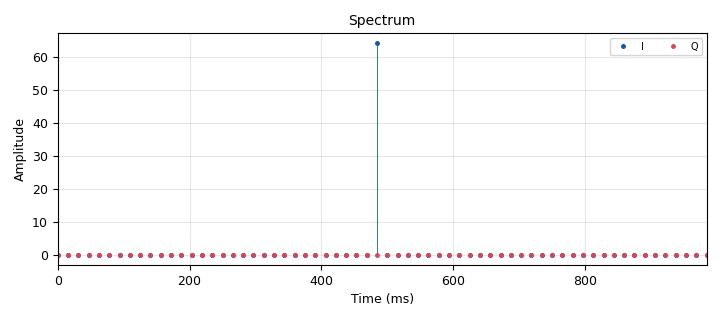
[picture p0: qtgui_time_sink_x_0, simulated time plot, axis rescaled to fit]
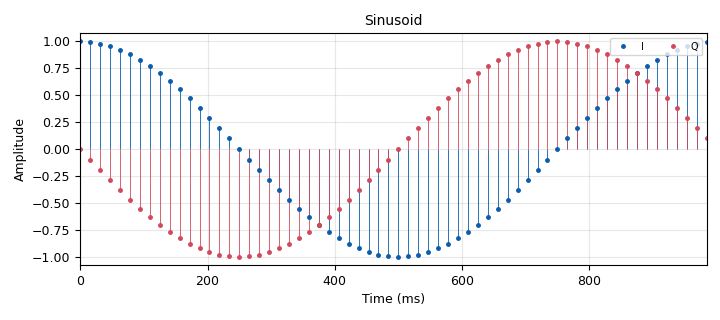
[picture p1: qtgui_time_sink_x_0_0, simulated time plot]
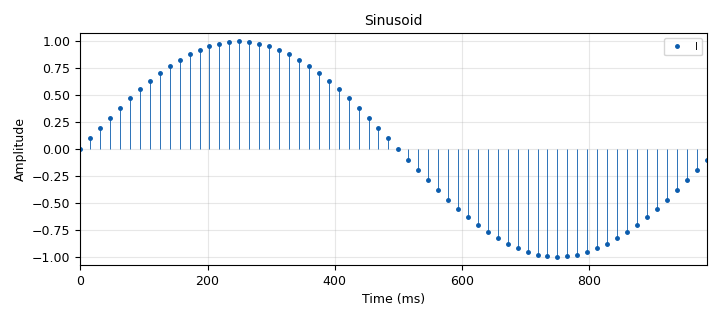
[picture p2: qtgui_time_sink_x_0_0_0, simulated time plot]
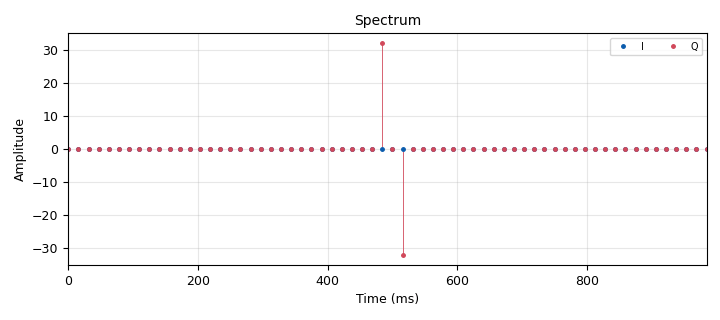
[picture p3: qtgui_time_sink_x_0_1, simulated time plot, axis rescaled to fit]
options:
  parameters:
    generate_options: qt_gui
    id: going_into_frequency_domain
    output_language: python
    title: Going into Frequency Domain
  states: {}

blocks:
- name: nfft
  id: variable_qtgui_range
  parameters:
    orient: Qt.Horizontal
    start: '1'
    step: '5'
    stop: '200'
    value: '64'
  states: {}
- name: samp_rate
  id: variable_qtgui_range
  parameters:
    orient: Qt.Horizontal
    start: '1'
    step: '5'
    stop: '100'
    value: '64'
  states: {}
- name: analog_sig_source_x_0
  id: analog_sig_source_x
  parameters:
    amp: '1'
    freq: '-1'
    offset: '0'
    phase: 0*pi/2
    samp_rate: samp_rate
    type: complex
    waveform: analog.GR_COS_WAVE
  states: {}
- name: analog_sig_source_x_0_0
  id: analog_sig_source_x
  parameters:
    amp: '1'
    freq: '1'
    offset: '0'
    phase: 0*pi/2
    samp_rate: samp_rate
    type: float
    waveform: analog.GR_SIN_WAVE
  states: {}
- name: blocks_float_to_complex_0_0
  id: blocks_float_to_complex
  parameters: {}
  states: {}
- name: blocks_stream_to_vector_0
  id: blocks_stream_to_vector
  parameters:
    num_items: nfft
    type: complex
  states: {}
- name: blocks_stream_to_vector_0_0
  id: blocks_stream_to_vector
  parameters:
    num_items: nfft
    type: complex
  states: {}
- name: blocks_throttle_0
  id: blocks_throttle
  parameters:
    samples_per_second: '8000'
    type: complex
  states: {}
- name: blocks_throttle_0_0
  id: blocks_throttle
  parameters:
    samples_per_second: '8000'
    type: float
  states: {}
- name: blocks_vector_to_stream_0
  id: blocks_vector_to_stream
  parameters:
    num_items: nfft
    type: complex
  states: {}
- name: blocks_vector_to_stream_0_0
  id: blocks_vector_to_stream
  parameters:
    num_items: nfft
    type: complex
  states: {}
- name: fft_vxx_0
  id: fft_vxx
  parameters:
    fft_size: nfft
    forward: 'True'
    nthreads: '8'
    shift: 'True'
    type: complex
    window: window.rectangular(nfft)
  states: {}
- name: fft_vxx_0_0
  id: fft_vxx
  parameters:
    fft_size: nfft
    forward: 'True'
    nthreads: '8'
    shift: 'True'
    type: complex
    window: window.rectangular(nfft)
  states: {}
- name: import_0
  id: import
  parameters:
    imports: "\n\nfrom math import pi"
  states: {}
- name: qtgui_time_sink_x_0
  id: qtgui_time_sink_x
  parameters:
    axislabels: 'False'
    grid: 'True'
    label1: I
    label2: Q
    marker1: '0'
    marker2: '1'
    name: Spectrum
    size: nfft
    srate: samp_rate
    stemplot: 'True'
    type: complex
    update_time: '0.01'
  states: {}
- name: qtgui_time_sink_x_0_0
  id: qtgui_time_sink_x
  parameters:
    grid: 'True'
    label1: I
    label2: Q
    marker1: '0'
    marker2: '0'
    name: Sinusoid
    size: samp_rate
    srate: samp_rate
    stemplot: 'True'
    type: complex
    update_time: '0.01'
  states: {}
- name: qtgui_time_sink_x_0_0_0
  id: qtgui_time_sink_x
  parameters:
    axislabels: 'False'
    grid: 'True'
    label1: I
    marker1: '0'
    name: Sinusoid
    size: samp_rate
    srate: samp_rate
    stemplot: 'True'
    type: float
    update_time: '0.01'
  states: {}
- name: qtgui_time_sink_x_0_1
  id: qtgui_time_sink_x
  parameters:
    axislabels: 'False'
    grid: 'True'
    label1: I
    label2: Q
    marker1: '0'
    marker2: '1'
    name: Spectrum
    size: nfft
    srate: samp_rate
    stemplot: 'True'
    type: complex
    update_time: '0.01'
  states: {}

connections:
- [analog_sig_source_x_0, '0', blocks_throttle_0, '0']
- [analog_sig_source_x_0_0, '0', blocks_throttle_0_0, '0']
- [blocks_float_to_complex_0_0, '0', blocks_stream_to_vector_0_0, '0']
- [blocks_stream_to_vector_0, '0', fft_vxx_0, '0']
- [blocks_stream_to_vector_0_0, '0', fft_vxx_0_0, '0']
- [blocks_throttle_0, '0', blocks_stream_to_vector_0, '0']
- [blocks_throttle_0, '0', qtgui_time_sink_x_0_0, '0']
- [blocks_throttle_0_0, '0', blocks_float_to_complex_0_0, '0']
- [blocks_throttle_0_0, '0', qtgui_time_sink_x_0_0_0, '0']
- [blocks_vector_to_stream_0, '0', qtgui_time_sink_x_0, '0']
- [blocks_vector_to_stream_0_0, '0', qtgui_time_sink_x_0_1, '0']
- [fft_vxx_0, '0', blocks_vector_to_stream_0, '0']
- [fft_vxx_0_0, '0', blocks_vector_to_stream_0_0, '0']

metadata:
  file_format: 1
